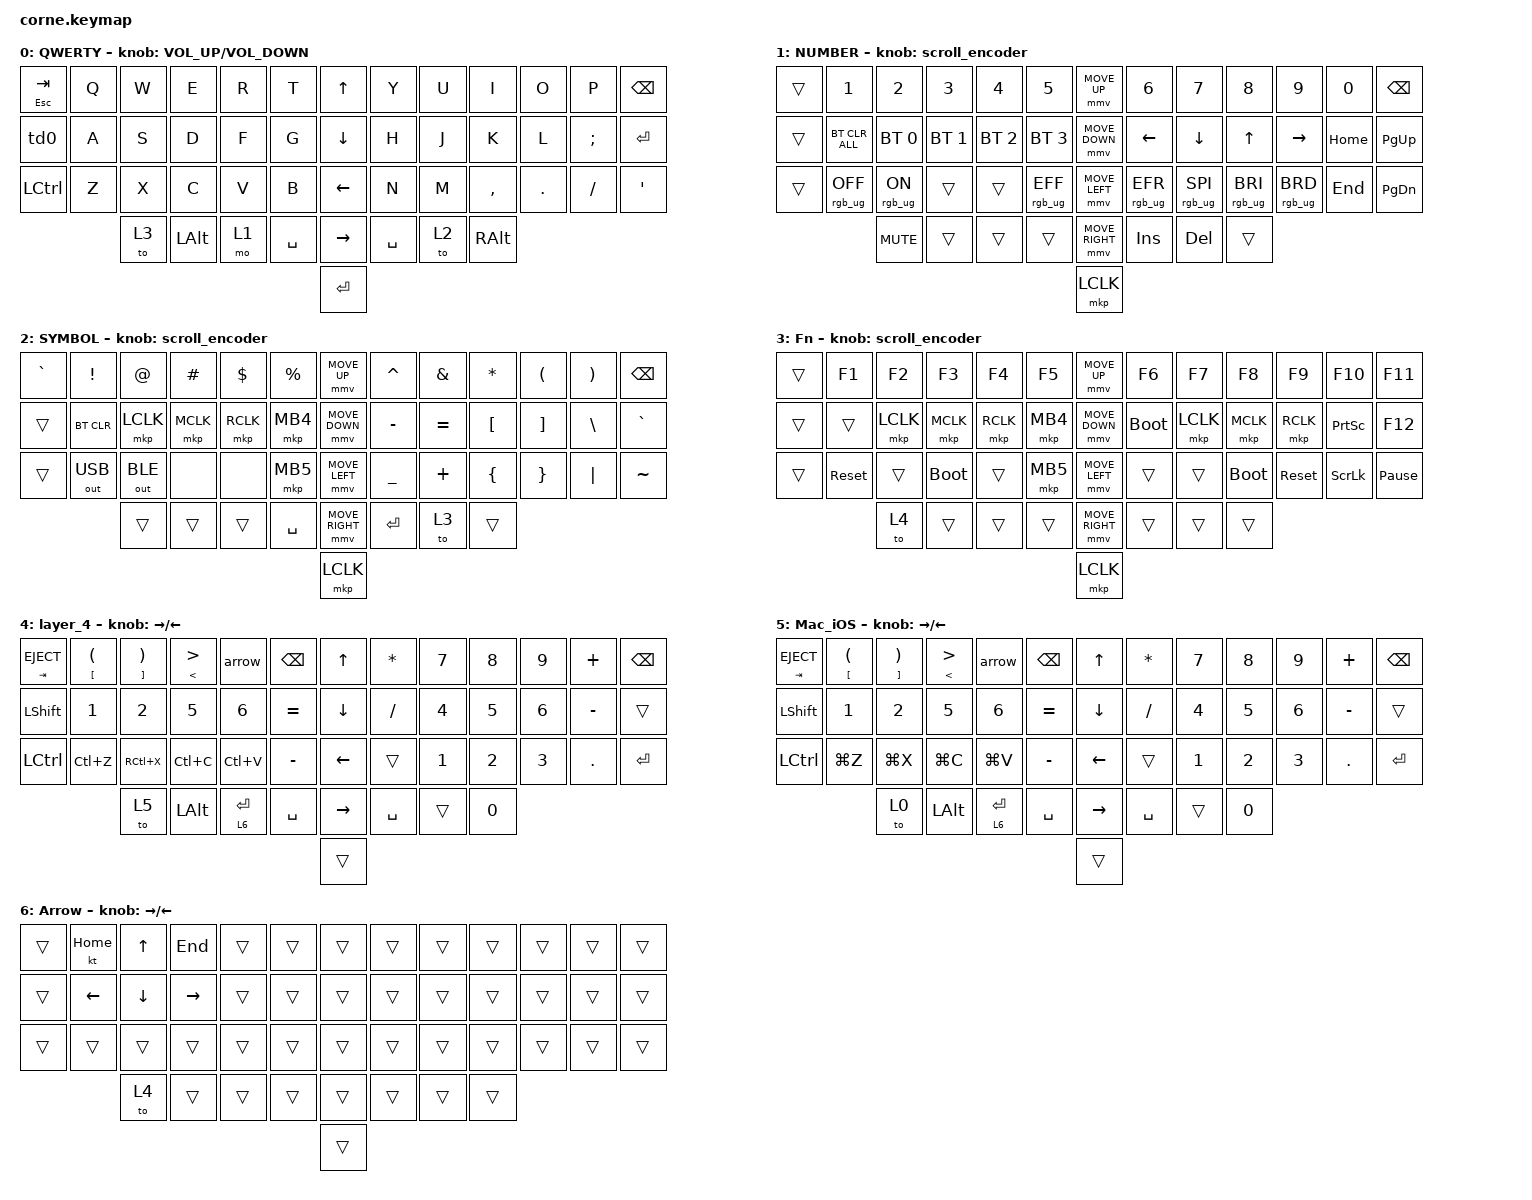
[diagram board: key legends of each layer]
#include <behaviors/mouse_keys.dtsi>
#include <behaviors.dtsi>
#include <dt-bindings/zmk/bt.h>
#include <dt-bindings/zmk/keys.h>
#include <dt-bindings/zmk/keys.h>
#include <dt-bindings/zmk/mouse.h>
#include <dt-bindings/zmk/outputs.h>
#include <dt-bindings/zmk/rgb.h>

#define ZMK_MOUSE_DEFAULT_MOVE_VAL 1200  // 600
#define ZMK_MOUSE_DEFAULT_SCRL_VAL 20    // 10
#define U_MS_U &mmv MOVE_UP
#define U_MS_D &mmv MOVE_DOWN
#define U_MS_L &mmv MOVE_LEFT
#define U_MS_R &mmv MOVE_RIGHT

/ {
    behaviors {
        td0: td0 {
            compatible = "zmk,behavior-tap-dance";
            label = "TD0";
            #binding-cells = <0>;
            bindings = <&kp LEFT_SHIFT>, <&kp CAPS>;
        };

        Tap_Hold: th {
            compatible = "zmk,behavior-hold-tap";
            label = "TAP_HOLD";
            bindings = <&kp>, <&kp>;

            #binding-cells = <2>;
            tapping-term-ms = <300>;
        };

        mmv {
            acceleration-exponent = <1>;      // 1
            time-to-max-speed-ms = <900>;    // 40
            delay-ms = <0>;                   // 0
        };

        msc {
            acceleration-exponent = <1>;      // 0
            time-to-max-speed-ms = <400>;      // 500
            delay-ms = <0>;                   // 10
        };
    };

    rgb_encoder: rgb_encoder {
        compatible = "zmk,behavior-sensor-rotate";
        label = "RGB_ENCODER";
        #sensor-binding-cells = <0>;
        bindings = <&rgb_ug RGB_BRI>, <&rgb_ug RGB_BRD>;
    };

    scroll_encoder: scroll_encoder {
        compatible = "zmk,behavior-sensor-rotate";
        #sensor-binding-cells = <0>;
        bindings = <&msc SCRL_DOWN>, <&msc SCRL_UP>;

        tap-ms = <30>;
    };

    macros {
        arrow: arrow {
            compatible = "zmk,behavior-macro";
            #binding-cells = <0>;
            bindings = <&kp SPACE &kp MINUS &kp GT &kp SPACE>;
            label = "ARROW";
        };
    };

    keymap {
        compatible = "zmk,keymap";

        default_layer {
            display-name = "QWERTY";

            // --------------------------------------------------------------------------------
            // |  TAB |  Q  |  W  |  E  |  R  |  T  |                ↑    |  Y  |  U   |  I  |  O  |  P  | BKSP |      &kp UP_ARROW 
            // | SHIFT |  A  |  S  |  D  |  F  |  G  |               ↓    |  H  |  J   |  K  |  L  |  ;  |  '   | 
            // | CTRL |  Z  |  X  |  C  |  V  |  B  |                ←    |  N  |  M   |  ,  |  .  |  /  | ESC  |
            //                    | GUI | LWR | SPC |                →    | ENT | RSE  | ALT |
            //                                                      enter

            bindings = <
&Tap_Hold ESCAPE TAB  &kp Q  &kp W  &kp E         &kp R  &kp T        &kp UP_ARROW     &kp Y      &kp U  &kp I      &kp O    &kp P     &kp BSPC
&td0                  &kp A  &kp S  &kp D         &kp F  &kp G        &kp DOWN_ARROW   &kp H      &kp J  &kp K      &kp L    &kp SEMI  &kp ENTER
&kp LCTRL             &kp Z  &kp X  &kp C         &kp V  &kp B        &kp LEFT_ARROW   &kp N      &kp M  &kp COMMA  &kp DOT  &kp FSLH  &kp SINGLE_QUOTE
                             &to 3  &kp LEFT_ALT  &mo 1  &kp SPACE    &kp RIGHT_ARROW  &kp SPACE  &to 2  &kp RALT
                                                                      &kp ENTER
            >;

            label = "QWERTY";
            sensor-bindings = <&inc_dec_kp C_VOLUME_UP C_VOLUME_DOWN>;
        };

        lower_layer {
            display-name = "NUMBER";

            // -----------------------------------------------------------------------------------------
            // |  TAB |  1  |  2  |  3  |  4  |  5  |   |  6  |  7  |  8  |  9  |  0  | BKSP |
            // | BTCLR| BT1 | BT2 | BT3 | BT4 | BT5 |   | LFT | DWN |  UP | RGT |     |      |
            // | SHFT |     |     |     |     |     |   |     |     |     |     |     |      |
            //                    | GUI |     | SPC |   | ENT |     | ALT |

            bindings = <
&trans  &kp N1           &kp N2          &kp N3        &kp N4        &kp N5             &mmv MOVE_UP     &kp N6           &kp N7           &kp N8           &kp N9           &kp N0    &kp BSPC
&trans  &bt BT_CLR_ALL   &bt BT_SEL 0    &bt BT_SEL 1  &bt BT_SEL 2  &bt BT_SEL 3       &mmv MOVE_DOWN   &kp LEFT         &kp DOWN         &kp UP           &kp RIGHT        &kp HOME  &kp PG_UP
&trans  &rgb_ug RGB_OFF  &rgb_ug RGB_ON  &trans        &trans        &rgb_ug RGB_EFF    &mmv MOVE_LEFT   &rgb_ug RGB_EFR  &rgb_ug RGB_SPI  &rgb_ug RGB_BRI  &rgb_ug RGB_BRD  &kp END   &kp PG_DN
                         &kp C_MUTE      &trans        &trans        &trans             &mmv MOVE_RIGHT  &kp INS          &kp DEL          &trans
                                                                                        &mkp LCLK
            >;

            label = "NUMBER";
            sensor-bindings = <&scroll_encoder>;
        };

        raise_layer {
            display-name = "SYMBOL";

            // -----------------------------------------------------------------------------------------
            // |  TAB |  !  |  @  |  #  |  $  |  %  |   |  ^  |  &  |  *  |  (  |  )  | BKSP |
            // | CTRL |     |     |     |     |     |   |  -  |  =  |  [  |  ]  |  \  |  `   |
            // | SHFT |     |     |     |     |     |   |  _  |  +  |  {  |  }  | "|" |  ~   |
            //                    | GUI |     | SPC |   | ENT |     | ALT |

            bindings = <
&kp GRAVE  &kp EXCL      &kp AT        &kp HASH   &kp DLLR   &kp PRCNT    &mmv MOVE_UP     &kp CARET  &kp AMPS   &kp ASTRK  &kp LPAR  &kp RPAR  &kp BSPC
&trans     &bt BT_CLR    &mkp LCLK     &mkp MCLK  &mkp RCLK  &mkp MB4     &mmv MOVE_DOWN   &kp MINUS  &kp EQUAL  &kp LBKT   &kp RBKT  &kp BSLH  &kp GRAVE
&trans     &out OUT_USB  &out OUT_BLE  &none      &none      &mkp MB5     &mmv MOVE_LEFT   &kp UNDER  &kp PLUS   &kp LBRC   &kp RBRC  &kp PIPE  &kp TILDE
                         &trans        &trans     &trans     &kp SPACE    &mmv MOVE_RIGHT  &kp RET    &to 3      &trans
                                                                          &mkp LCLK
            >;

            label = "SYMBOL";
            sensor-bindings = <&scroll_encoder>;
        };

        layer_3 {
            display-name = "Fn";
            bindings = <
&trans  &kp F1      &kp F2     &kp F3       &kp F4     &kp F5      &mmv MOVE_UP     &kp F6       &kp F7     &kp F8       &kp F9      &kp F10          &kp F11
&trans  &trans      &mkp LCLK  &mkp MCLK    &mkp RCLK  &mkp MB4    &mmv MOVE_DOWN   &bootloader  &mkp LCLK  &mkp MCLK    &mkp RCLK   &kp PRINTSCREEN  &kp F12
&trans  &sys_reset  &trans     &bootloader  &trans     &mkp MB5    &mmv MOVE_LEFT   &trans       &trans     &bootloader  &sys_reset  &kp SCROLLLOCK   &kp PAUSE_BREAK
                    &to 4      &trans       &trans     &trans      &mmv MOVE_RIGHT  &trans       &trans     &trans
                                                                   &mkp LCLK
            >;

            label = "FN";
            sensor-bindings = <&scroll_encoder>;
        };

        layer_4 {
            bindings = <
&Tap_Hold TAB C_EJECT  &Tap_Hold LEFT_BRACKET LEFT_PARENTHESIS  &Tap_Hold RIGHT_BRACKET RIGHT_PARENTHESIS  &Tap_Hold LESS_THAN GREATER_THAN  &arrow       &kp BSPC     &kp UP     &kp ASTERISK  &kp N7  &kp N8  &kp N9  &kp PLUS    &kp BSPC
&kp LSHFT              &kp N1                                   &kp N2                                     &kp N5                            &kp N6       &kp EQUAL    &kp DOWN   &kp SLASH     &kp N4  &kp N5  &kp N6  &kp MINUS   &trans
&kp LCTRL              &kp LC(Z)                                &kp RC(X)                                  &kp LC(C)                         &kp LC(V)    &kp MINUS    &kp LEFT   &trans        &kp N1  &kp N2  &kp N3  &kp PERIOD  &kp ENTER
                                                                &to 5                                      &kp LALT                          &lt 6 ENTER  &kp SPACE    &kp RIGHT  &kp SPACE     &trans  &kp N0
                                                                                                                                                                       &trans
            >;

            sensor-bindings = <&inc_dec_kp RIGHT LEFT>;
            label = "layer_4";
        };

        Mac_iOS {
            label = "Mac_iOS";
            bindings = <
&Tap_Hold TAB C_EJECT  &Tap_Hold LEFT_BRACKET LEFT_PARENTHESIS  &Tap_Hold RIGHT_BRACKET RIGHT_PARENTHESIS  &Tap_Hold LESS_THAN GREATER_THAN  &arrow       &kp BSPC     &kp UP     &kp ASTERISK  &kp N7  &kp N8  &kp N9  &kp PLUS    &kp BSPC
&kp LSHFT              &kp N1                                   &kp N2                                     &kp N5                            &kp N6       &kp EQUAL    &kp DOWN   &kp SLASH     &kp N4  &kp N5  &kp N6  &kp MINUS   &trans
&kp LCTRL              &kp LG(Z)                                &kp LG(X)                                  &kp LG(C)                         &kp LG(V)    &kp MINUS    &kp LEFT   &trans        &kp N1  &kp N2  &kp N3  &kp PERIOD  &kp ENTER
                                                                &to 0                                      &kp LALT                          &lt 6 ENTER  &kp SPACE    &kp RIGHT  &kp SPACE     &trans  &kp N0
                                                                                                                                                                       &trans
            >;

            sensor-bindings = <&inc_dec_kp RIGHT LEFT>;
        };

        Arrow {
            bindings = <
&trans  &kt HOME  &kp UP_ARROW  &kp END    &trans  &trans    &trans  &trans  &trans  &trans  &trans  &trans  &trans
&trans  &kp LEFT  &kp DOWN      &kp RIGHT  &trans  &trans    &trans  &trans  &trans  &trans  &trans  &trans  &trans
&trans  &trans    &trans        &trans     &trans  &trans    &trans  &trans  &trans  &trans  &trans  &trans  &trans
                  &to 4         &trans     &trans  &trans    &trans  &trans  &trans  &trans
                                                             &trans
            >;

            sensor-bindings = <&inc_dec_kp RIGHT LEFT>;
            label = "Arrow";
        };
    };
};
